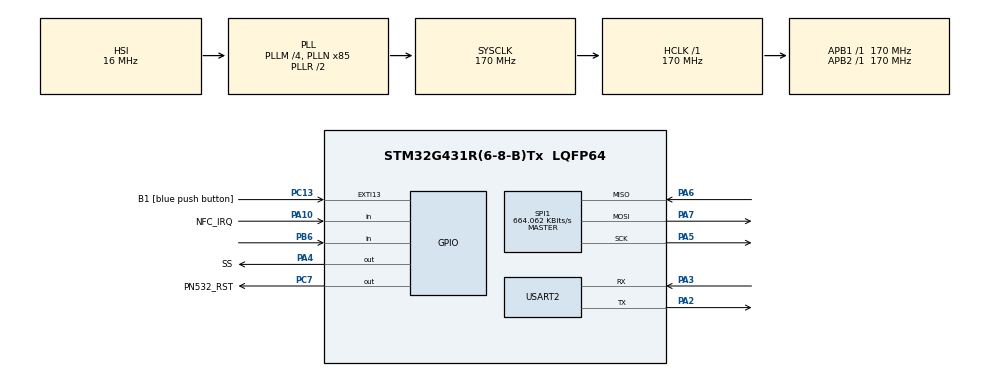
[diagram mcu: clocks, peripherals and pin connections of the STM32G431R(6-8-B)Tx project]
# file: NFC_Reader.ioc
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Mcu.Family=STM32G4
Mcu.Name=STM32G431R(6-8-B)Tx
Mcu.Package=LQFP64
NVIC.PriorityGroup=NVIC_PRIORITYGROUP_4
NVIC.TIM6_DAC_IRQn=true\:0\:0\:false\:false\:true\:true\:true
PA10.GPIO_Label=NFC_IRQ
PA10.GPIO_PuPd=GPIO_PULLUP
PA10.Signal=GPIO_Input
PA13.GPIO_Label=T_SWDIO
PA13.Mode=Serial_Wire
PA13.Signal=SYS_JTMS-SWDIO
PA14.GPIO_Label=T_SWCLK
PA14.Mode=Serial_Wire
PA14.Signal=SYS_JTCK-SWCLK
PA2.Mode=Asynchronous
PA2.Signal=USART2_TX
PA3.Mode=Asynchronous
PA3.Signal=USART2_RX
PA4.GPIO_Label=SS
PA4.PinState=GPIO_PIN_SET
PA4.Signal=GPIO_Output
PA5.Mode=Full_Duplex_Master
PA5.Signal=SPI1_SCK
PA6.GPIO_PuPd=GPIO_PULLUP
PA6.Mode=Full_Duplex_Master
PA6.Signal=SPI1_MISO
PA7.Mode=Full_Duplex_Master
PA7.Signal=SPI1_MOSI
PB3.GPIO_Label=T_SWO
PB3.Signal=SYS_JTDO-SWO
PB6.Signal=GPIO_Input
PC13.GPIO_Label=B1 [blue push button]
PC13.Signal=GPXTI13
PC14-OSC32_IN.Mode=LSE-External-Oscillator
PC14-OSC32_IN.Signal=RCC_OSC32_IN
PC15-OSC32_OUT.Mode=LSE-External-Oscillator
PC15-OSC32_OUT.Signal=RCC_OSC32_OUT
PC7.GPIO_Label=PN532_RST
PC7.Signal=GPIO_Output
PF0-OSC_IN.Mode=HSE-External-Oscillator
PF0-OSC_IN.Signal=RCC_OSC_IN
PF1-OSC_OUT.Mode=HSE-External-Oscillator
PF1-OSC_OUT.Signal=RCC_OSC_OUT
ProjectManager.HeapSize=0x200
ProjectManager.StackSize=0x400
ProjectManager.TargetToolchain=STM32CubeIDE
RCC.ADC12Freq_Value=170000000
RCC.AHBFreq_Value=170000000
RCC.APB1Freq_Value=170000000
RCC.APB1TimFreq_Value=170000000
RCC.APB2Freq_Value=170000000
RCC.APB2TimFreq_Value=170000000
RCC.CK48CLockSelection=RCC_USBCLKSOURCE_HSI48
RCC.CortexFreq_Value=170000000
RCC.EXTERNAL_CLOCK_VALUE=12288000
RCC.HCLKFreq_Value=170000000
RCC.HSE_VALUE=24000000
RCC.HSI48_VALUE=48000000
RCC.HSI_VALUE=16000000
RCC.PLLM=RCC_PLLM_DIV4
RCC.PLLN=85
RCC.RTCClockSelection=RCC_RTCCLKSOURCE_LSE
RCC.SYSCLKFreq_VALUE=170000000
RCC.SYSCLKSource=RCC_SYSCLKSOURCE_PLLCLK
RCC.USBFreq_Value=48000000
RCC.VCOOutputFreq_Value=340000000
SPI1.BaudRatePrescaler=SPI_BAUDRATEPRESCALER_256
SPI1.CLKPhase=SPI_PHASE_1EDGE
SPI1.CLKPolarity=SPI_POLARITY_LOW
SPI1.CalculateBaudRate=664.062 KBits/s
SPI1.DataSize=SPI_DATASIZE_8BIT
SPI1.Direction=SPI_DIRECTION_2LINES
SPI1.FirstBit=SPI_FIRSTBIT_LSB
SPI1.Mode=SPI_MODE_MASTER
SPI1.NSSPMode=SPI_NSS_PULSE_ENABLE
SPI1.VirtualType=VM_MASTER
TIM6.PeriodNoDither=10000
TIM6.Prescaler=170
USART2.VirtualMode-Asynchronous=VM_ASYNC
VP_RNG_VS_RNG.Mode=RNG_Activate
VP_SYS_VS_DBSignals.Mode=DisableDeadBatterySignals
VP_TIM6_VS_ClockSourceINT.Mode=Enable_Timer
board=NUCLEO-G431RB

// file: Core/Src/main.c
/* USER CODE BEGIN Header */
/**
  ******************************************************************************
  * @file           : main.c
  * @brief          : Main program body
  ******************************************************************************
  * @attention
  *
  * <h2><center>&copy; Copyright (c) 2021 STMicroelectronics.
  * All rights reserved.</center></h2>
  *
  * This software component is licensed by ST under BSD 3-Clause license,
  * the "License"; You may not use this file except in compliance with the
  * License. You may obtain a copy of the License at:
  *                        opensource.org/licenses/BSD-3-Clause
  *
  ******************************************************************************
  */
/* USER CODE END Header */
#include "main.h"

RNG_HandleTypeDef hrng;

SPI_HandleTypeDef hspi1;

TIM_HandleTypeDef htim6;

UART_HandleTypeDef huart2;

void SystemClock_Config(void);
static void MX_GPIO_Init(void);
static void MX_SPI1_Init(void);
static void MX_USART2_UART_Init(void);
static void MX_RNG_Init(void);
static void MX_TIM6_Init(void);

int main(void)
{
  /* USER CODE BEGIN 1 */
uint8_t		version,writestat=0,i;
uint8_t		buffer[16];
uint8_t 	card_number = 1, tries = 6;
  /* USER CODE END 1 */

  /* MCU Configuration--------------------------------------------------------*/

  /* Reset of all peripherals, Initializes the Flash interface and the Systick. */
  HAL_Init();

  /* Configure the system clock */
  SystemClock_Config();

  /* Initialize all configured peripherals */
  MX_GPIO_Init();
  MX_SPI1_Init();
  MX_USART2_UART_Init();
  MX_RNG_Init();
  MX_TIM6_Init();
  /* USER CODE BEGIN 2 */

  version = initializePN532();

  /* USER CODE END 2 */
  /* Infinite loop */
  /* USER CODE BEGIN WHILE */
  while (1)
  {
		if ( version == 0)
		{
				if ( checkCardPresence() == 0 )
				{
					dump_TAGinfo(card_number);
					if (writestat == 0)
					{
						encode_and_write(2);
						writestat++;
					}
					for ( tries = 0;tries < 3 ; tries ++)
					{
						if ( decode(tries) != 255 )
							logUsart("Decode %d OK\r\n",tries);
						else
							logUsart("Decode %d FAIL\r\n",tries);
					}

					dump_0456_card();
				}
				else
					logUsart(".");
		}
		HAL_Delay(1000);

    /* USER CODE END WHILE */

  }
}

void SystemClock_Config(void)
{
  RCC_OscInitTypeDef RCC_OscInitStruct = {0};
  RCC_ClkInitTypeDef RCC_ClkInitStruct = {0};
  RCC_PeriphCLKInitTypeDef PeriphClkInit = {0};

  /** Configure the main internal regulator output voltage
  */
  HAL_PWREx_ControlVoltageScaling(PWR_REGULATOR_VOLTAGE_SCALE1_BOOST);
  /** Initializes the RCC Oscillators according to the specified parameters
  * in the RCC_OscInitTypeDef structure.
  */
  RCC_OscInitStruct.OscillatorType = RCC_OSCILLATORTYPE_HSI|RCC_OSCILLATORTYPE_HSI48;
  RCC_OscInitStruct.HSIState = RCC_HSI_ON;
  RCC_OscInitStruct.HSICalibrationValue = RCC_HSICALIBRATION_DEFAULT;
  RCC_OscInitStruct.HSI48State = RCC_HSI48_ON;
  RCC_OscInitStruct.PLL.PLLState = RCC_PLL_ON;
  RCC_OscInitStruct.PLL.PLLSource = RCC_PLLSOURCE_HSI;
  RCC_OscInitStruct.PLL.PLLM = RCC_PLLM_DIV4;
  RCC_OscInitStruct.PLL.PLLN = 85;
  RCC_OscInitStruct.PLL.PLLP = RCC_PLLP_DIV2;
  RCC_OscInitStruct.PLL.PLLQ = RCC_PLLQ_DIV2;
  RCC_OscInitStruct.PLL.PLLR = RCC_PLLR_DIV2;
  if (HAL_RCC_OscConfig(&RCC_OscInitStruct) != HAL_OK)
  {
    Error_Handler();
  }
  /** Initializes the CPU, AHB and APB buses clocks
  */
  RCC_ClkInitStruct.ClockType = RCC_CLOCKTYPE_HCLK|RCC_CLOCKTYPE_SYSCLK
                              |RCC_CLOCKTYPE_PCLK1|RCC_CLOCKTYPE_PCLK2;
  RCC_ClkInitStruct.SYSCLKSource = RCC_SYSCLKSOURCE_PLLCLK;
  RCC_ClkInitStruct.AHBCLKDivider = RCC_SYSCLK_DIV1;
  RCC_ClkInitStruct.APB1CLKDivider = RCC_HCLK_DIV1;
  RCC_ClkInitStruct.APB2CLKDivider = RCC_HCLK_DIV1;

  if (HAL_RCC_ClockConfig(&RCC_ClkInitStruct, FLASH_LATENCY_4) != HAL_OK)
  {
    Error_Handler();
  }
  /** Initializes the peripherals clocks
  */
  PeriphClkInit.PeriphClockSelection = RCC_PERIPHCLK_USART2|RCC_PERIPHCLK_RNG;
  PeriphClkInit.Usart2ClockSelection = RCC_USART2CLKSOURCE_PCLK1;
  PeriphClkInit.RngClockSelection = RCC_RNGCLKSOURCE_HSI48;
  if (HAL_RCCEx_PeriphCLKConfig(&PeriphClkInit) != HAL_OK)
  {
    Error_Handler();
  }
}

static void MX_RNG_Init(void)
{

  hrng.Instance = RNG;
  hrng.Init.ClockErrorDetection = RNG_CED_ENABLE;
  if (HAL_RNG_Init(&hrng) != HAL_OK)
  {
    Error_Handler();
  }

}

static void MX_SPI1_Init(void)
{

  /* SPI1 parameter configuration*/
  hspi1.Instance = SPI1;
  hspi1.Init.Mode = SPI_MODE_MASTER;
  hspi1.Init.Direction = SPI_DIRECTION_2LINES;
  hspi1.Init.DataSize = SPI_DATASIZE_8BIT;
  hspi1.Init.CLKPolarity = SPI_POLARITY_LOW;
  hspi1.Init.CLKPhase = SPI_PHASE_1EDGE;
  hspi1.Init.NSS = SPI_NSS_SOFT;
  hspi1.Init.BaudRatePrescaler = SPI_BAUDRATEPRESCALER_256;
  hspi1.Init.FirstBit = SPI_FIRSTBIT_LSB;
  hspi1.Init.TIMode = SPI_TIMODE_DISABLE;
  hspi1.Init.CRCCalculation = SPI_CRCCALCULATION_DISABLE;
  hspi1.Init.CRCPolynomial = 7;
  hspi1.Init.CRCLength = SPI_CRC_LENGTH_DATASIZE;
  hspi1.Init.NSSPMode = SPI_NSS_PULSE_ENABLE;
  if (HAL_SPI_Init(&hspi1) != HAL_OK)
  {
    Error_Handler();
  }

}

static void MX_TIM6_Init(void)
{

  TIM_MasterConfigTypeDef sMasterConfig = {0};

  htim6.Instance = TIM6;
  htim6.Init.Prescaler = 170;
  htim6.Init.CounterMode = TIM_COUNTERMODE_UP;
  htim6.Init.Period = 10000;
  htim6.Init.AutoReloadPreload = TIM_AUTORELOAD_PRELOAD_DISABLE;
  if (HAL_TIM_Base_Init(&htim6) != HAL_OK)
  {
    Error_Handler();
  }
  sMasterConfig.MasterOutputTrigger = TIM_TRGO_RESET;
  sMasterConfig.MasterSlaveMode = TIM_MASTERSLAVEMODE_DISABLE;
  if (HAL_TIMEx_MasterConfigSynchronization(&htim6, &sMasterConfig) != HAL_OK)
  {
    Error_Handler();
  }

}

static void MX_USART2_UART_Init(void)
{

  huart2.Instance = USART2;
  huart2.Init.BaudRate = 115200;
  huart2.Init.WordLength = UART_WORDLENGTH_8B;
  huart2.Init.StopBits = UART_STOPBITS_1;
  huart2.Init.Parity = UART_PARITY_NONE;
  huart2.Init.Mode = UART_MODE_TX_RX;
  huart2.Init.HwFlowCtl = UART_HWCONTROL_NONE;
  huart2.Init.OverSampling = UART_OVERSAMPLING_16;
  huart2.Init.OneBitSampling = UART_ONE_BIT_SAMPLE_DISABLE;
  huart2.Init.ClockPrescaler = UART_PRESCALER_DIV1;
  huart2.AdvancedInit.AdvFeatureInit = UART_ADVFEATURE_NO_INIT;
  if (HAL_UART_Init(&huart2) != HAL_OK)
  {
    Error_Handler();
  }
  if (HAL_UARTEx_SetTxFifoThreshold(&huart2, UART_TXFIFO_THRESHOLD_1_8) != HAL_OK)
  {
    Error_Handler();
  }
  if (HAL_UARTEx_SetRxFifoThreshold(&huart2, UART_RXFIFO_THRESHOLD_1_8) != HAL_OK)
  {
    Error_Handler();
  }
  if (HAL_UARTEx_DisableFifoMode(&huart2) != HAL_OK)
  {
    Error_Handler();
  }

}

static void MX_GPIO_Init(void)
{
  GPIO_InitTypeDef GPIO_InitStruct = {0};

  /* GPIO Ports Clock Enable */
  __HAL_RCC_GPIOC_CLK_ENABLE();
  __HAL_RCC_GPIOF_CLK_ENABLE();
  __HAL_RCC_GPIOA_CLK_ENABLE();
  __HAL_RCC_GPIOB_CLK_ENABLE();

  /*Configure GPIO pin Output Level */
  HAL_GPIO_WritePin(SS_GPIO_Port, SS_Pin, GPIO_PIN_SET);

  /*Configure GPIO pin Output Level */
  HAL_GPIO_WritePin(PN532_RST_GPIO_Port, PN532_RST_Pin, GPIO_PIN_RESET);

  /*Configure GPIO pin : B1_Pin */
  GPIO_InitStruct.Pin = B1_Pin;
  GPIO_InitStruct.Mode = GPIO_MODE_IT_RISING;
  GPIO_InitStruct.Pull = GPIO_NOPULL;
  HAL_GPIO_Init(B1_GPIO_Port, &GPIO_InitStruct);

  /*Configure GPIO pin : SS_Pin */
  GPIO_InitStruct.Pin = SS_Pin;
  GPIO_InitStruct.Mode = GPIO_MODE_OUTPUT_PP;
  GPIO_InitStruct.Pull = GPIO_NOPULL;
  GPIO_InitStruct.Speed = GPIO_SPEED_FREQ_LOW;
  HAL_GPIO_Init(SS_GPIO_Port, &GPIO_InitStruct);

  /*Configure GPIO pin : PN532_RST_Pin */
  GPIO_InitStruct.Pin = PN532_RST_Pin;
  GPIO_InitStruct.Mode = GPIO_MODE_OUTPUT_PP;
  GPIO_InitStruct.Pull = GPIO_NOPULL;
  GPIO_InitStruct.Speed = GPIO_SPEED_FREQ_LOW;
  HAL_GPIO_Init(PN532_RST_GPIO_Port, &GPIO_InitStruct);

  /*Configure GPIO pin : NFC_IRQ_Pin */
  GPIO_InitStruct.Pin = NFC_IRQ_Pin;
  GPIO_InitStruct.Mode = GPIO_MODE_INPUT;
  GPIO_InitStruct.Pull = GPIO_PULLUP;
  HAL_GPIO_Init(NFC_IRQ_GPIO_Port, &GPIO_InitStruct);

  /*Configure GPIO pin : PB6 */
  GPIO_InitStruct.Pin = GPIO_PIN_6;
  GPIO_InitStruct.Mode = GPIO_MODE_INPUT;
  GPIO_InitStruct.Pull = GPIO_NOPULL;
  HAL_GPIO_Init(GPIOB, &GPIO_InitStruct);

}

void Error_Handler(void)
{
  __disable_irq();
  while (1)
  {
  }
}

/************************ (C) COPYRIGHT STMicroelectronics *****END OF FILE****/
